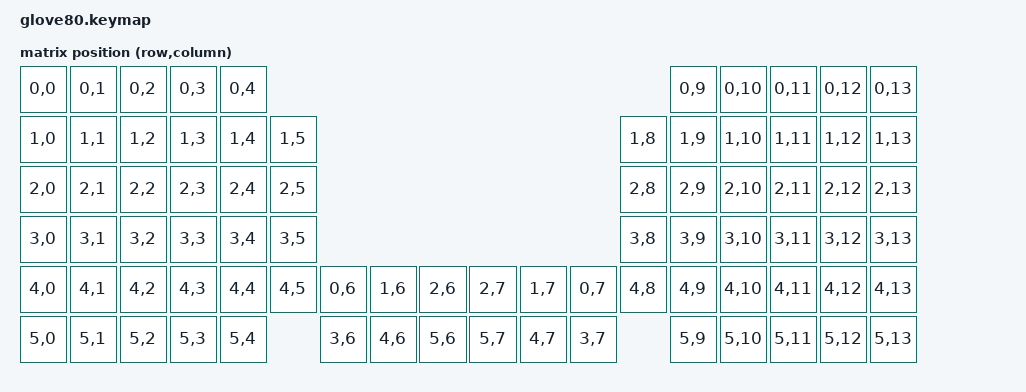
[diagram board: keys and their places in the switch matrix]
#include <dt-bindings/zmk/matrix_transform.h>

/ {
    chosen {
        zmk,kscan = &mock_kscan;
        zmk,matrix-transform = &default_transform;
    };

    /*
     * Copied verbatim from moergo-sc/zmk app/boards/arm/glove80/glove80.dtsi.
     * Both halves send absolute keymap positions (the right hand applies
     * col-offset = <7> to this same map), so the dongle needs the map only to
     * size the keymap - it never scans a matrix itself.
     */
    default_transform: keymap_transform_0 {
        compatible = "zmk,matrix-transform";
        columns = <14>;
        rows = <6>;
        map = <
            RC(0,0) RC(0,1) RC(0,2) RC(0,3) RC(0,4)                                                                    RC(0,9) RC(0,10) RC(0,11) RC(0,12) RC(0,13)
            RC(1,0) RC(1,1) RC(1,2) RC(1,3) RC(1,4) RC(1,5)                                                    RC(1,8) RC(1,9) RC(1,10) RC(1,11) RC(1,12) RC(1,13)
            RC(2,0) RC(2,1) RC(2,2) RC(2,3) RC(2,4) RC(2,5)                                                    RC(2,8) RC(2,9) RC(2,10) RC(2,11) RC(2,12) RC(2,13)
            RC(3,0) RC(3,1) RC(3,2) RC(3,3) RC(3,4) RC(3,5)                                                    RC(3,8) RC(3,9) RC(3,10) RC(3,11) RC(3,12) RC(3,13)
            RC(4,0) RC(4,1) RC(4,2) RC(4,3) RC(4,4) RC(4,5) RC(0,6) RC(1,6) RC(2,6)   RC(2,7) RC(1,7)  RC(0,7) RC(4,8) RC(4,9) RC(4,10) RC(4,11) RC(4,12) RC(4,13)
            RC(5,0) RC(5,1) RC(5,2) RC(5,3) RC(5,4)         RC(3,6) RC(4,6) RC(5,6)   RC(5,7) RC(4,7)  RC(3,7)         RC(5,9) RC(5,10) RC(5,11) RC(5,12) RC(5,13)
        >;
    };

    mock_kscan: mock_kscan_0 {
        compatible = "zmk,kscan-mock";
        columns = <0>;
        rows = <0>;
        events = <0>;
    };
};
